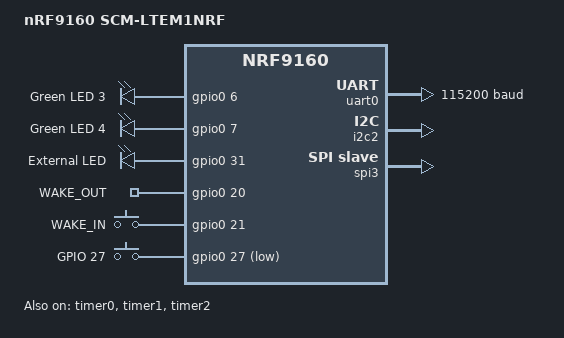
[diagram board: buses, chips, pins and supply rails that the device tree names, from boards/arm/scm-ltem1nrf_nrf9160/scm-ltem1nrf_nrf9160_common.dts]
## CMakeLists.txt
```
# SPDX-License-Identifier: Apache-2.0

cmake_minimum_required(VERSION 3.20.0)
set(BOARD_ROOT ${CMAKE_SOURCE_DIR})
find_package(Zephyr REQUIRED HINTS $ENV{ZEPHYR_BASE})
project(blinky)

target_sources(app PRIVATE src/main.c)
```

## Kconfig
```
#
# Copyright (c) 2021 Nordic Semiconductor ASA
#
# SPDX-License-Identifier: LicenseRef-Nordic-5-Clause
#

menu "Blinky"
    module = APP
    module-str = APP
    source "subsys/logging/Kconfig.template.log_config"
endmenu

menu "Zephyr Kernel"
source "Kconfig.zephyr"
endmenu
```

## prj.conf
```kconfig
# General config
CONFIG_LOG=y
CONFIG_LOG_DEFAULT_LEVEL=3
CONFIG_NEWLIB_LIBC=y
CONFIG_NEWLIB_LIBC_FLOAT_PRINTF=y

# Segger RTT
CONFIG_USE_SEGGER_RTT=y
CONFIG_RTT_CONSOLE=y
CONFIG_LOG_BACKEND_RTT=y
CONFIG_UART_CONSOLE=y
CONFIG_LOG_BACKEND_UART=y

# GPIO
CONFIG_GPIO=y
```

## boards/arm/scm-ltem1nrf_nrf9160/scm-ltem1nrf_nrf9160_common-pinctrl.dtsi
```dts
/*
 * Copyright (c) 2022 Nordic Semiconductor
 * SPDX-License-Identifier: Apache-2.0
 */

&pinctrl {
	uart0_default: uart0_default {
		group1 {
			psels = <NRF_PSEL(UART_TX, 0, 23)>,
				<NRF_PSEL(UART_RX, 0, 22)>;
		};
	};

	uart0_sleep: uart0_sleep {
		group1 {
			psels = <NRF_PSEL(UART_TX, 0, 23)>,
				<NRF_PSEL(UART_RX, 0, 22)>;
			low-power-enable;
		};
	};

	i2c2_default: i2c2_default {
		group1 {
			psels = <NRF_PSEL(TWIM_SDA, 0, 29)>,
				<NRF_PSEL(TWIM_SCL, 0, 30)>;
		};
	};

	i2c2_sleep: i2c2_sleep {
		group1 {
			psels = <NRF_PSEL(TWIM_SDA, 0, 29)>,
				<NRF_PSEL(TWIM_SCL, 0, 30)>;
		};
		low-power-enable;
	};

	spi3_default: spi3_default {
		group1 {
			psels = <NRF_PSEL(SPIS_SCK, 0, 3)>,
				<NRF_PSEL(SPIS_MISO, 0, 2)>,
				<NRF_PSEL(SPIS_MOSI, 0, 1)>,
				<NRF_PSEL(SPIS_CSN, 0, 4)>;
		};
	};

	spi3_sleep: spi3_sleep {
		group1 {
			psels = <NRF_PSEL(SPIS_SCK, 0, 3)>,
				<NRF_PSEL(SPIS_MISO, 0, 2)>,
				<NRF_PSEL(SPIS_MOSI, 0, 1)>,
				<NRF_PSEL(SPIS_CSN, 0, 4)>;
			low-power-enable;
		};
	};
};
```

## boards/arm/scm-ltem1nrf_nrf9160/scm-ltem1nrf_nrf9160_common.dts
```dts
/*
 * Copyright (c) 2018-2020 Nordic Semiconductor ASA
 *
 * SPDX-License-Identifier: Apache-2.0
 */
#include "scm-ltem1nrf_nrf9160_common-pinctrl.dtsi"

/ {
	model = "nRF9160 SCM-LTEM1NRF";
	compatible = "nordic,nrf9160-dk-nrf9160";

	chosen {
		zephyr,console = &uart0;
		zephyr,shell-uart = &uart0;
		zephyr,uart-mcumgr = &uart0;
	};

	leds {
		compatible = "gpio-leds";
		led0: led_0 {
			gpios = <&gpio0 6 0>;
			label = "Green LED 3";
		};
		led1: led_1 {
			gpios = <&gpio0 7 0>;
			label = "Green LED 4";
		};
		led2: led_2 {
			gpios = <&gpio0 31 0>;
			label = "External LED";
		};
		led3: led_3 {
			gpios = <&gpio0 20 0>;
			label = "WAKE_OUT";
		};
	};

	buttons {
		compatible = "gpio-keys";
		button0: button_0 {
			gpios = <&gpio0 21 (GPIO_PULL_DOWN | GPIO_ACTIVE_HIGH)>;
			label = "WAKE_IN";
		};
		button1: button_1 {
			gpios = <&gpio0 27 (GPIO_PULL_UP | GPIO_ACTIVE_LOW)>;
			label = "GPIO 27";
		};
	};

	/* These aliases are provided for compatibility with samples */
	aliases {
		led0 = &led0;
		led1 = &led1;
		led2 = &led2;
		wake-out = &led3;
		wake-in = &button0;
		sw0 = &button1;
	};
};

&gpiote {
	status = "okay";
};

&gpio0 {
	status = "okay";
};

&uart0 {
	status = "okay";
	current-speed = <115200>;
	pinctrl-0 = <&uart0_default>;
	pinctrl-1 = <&uart0_sleep>;
	pinctrl-names = "default", "sleep";
};

&i2c2 {
	compatible = "nordic,nrf-twis";
	status = "okay";
	pinctrl-0 = <&i2c2_default>;
	pinctrl-1 = <&i2c2_sleep>;
	address-0 = <0x30>;
};

&spi3 {
	compatible = "nordic,nrf-spis";
	status = "okay";
	pinctrl-0 = <&spi3_default>;
	pinctrl-1 = <&spi3_sleep>;
	pinctrl-names = "default", "sleep";
	def-char = <0x20>;
};

&timer0 {
	status = "okay";
};

&timer1 {
	status = "okay";
};

&timer2 {
	status = "okay";
};

&flash0 {

	partitions {
		compatible = "fixed-partitions";
		#address-cells = <1>;
		#size-cells = <1>;

		boot_partition: partition@0 {
			label = "mcuboot";
			reg = <0x00000000 0x10000>;
		};
		slot0_partition: partition@10000 {
			label = "image-0";
		};
		slot0_ns_partition: partition@50000 {
			label = "image-0-nonsecure";
		};
		slot1_partition: partition@80000 {
			label = "image-1";
		};
		slot1_ns_partition: partition@c0000 {
			label = "image-1-nonsecure";
		};
		/* 0xf0000 to 0xf7fff reserved for TF-M partitions */
		storage_partition: partition@f8000 {
			label = "storage";
			reg = <0x000f8000 0x00008000>;
		};
	};
};

/ {

	reserved-memory {
		#address-cells = <1>;
		#size-cells = <1>;
		ranges;

		sram0_s: image_s@20000000 {
			/* Secure image memory */
		};

		sram0_modem: image_modem@20016000 {
			/* Modem (shared) memory */
		};

		sram0_ns: image_ns@20020000 {
			/* Non-Secure image memory */
		};
	};
};

/* Include partition configuration file */
#include "scm-ltem1nrf_nrf9160_partition_conf.dts"
```

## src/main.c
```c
/*
 * Copyright (c) 2016 Intel Corporation
 *
 * SPDX-License-Identifier: Apache-2.0
 */

#include <zephyr/kernel.h>
#include <zephyr/drivers/gpio.h>
#include <zephyr/logging/log.h>

LOG_MODULE_REGISTER(main, CONFIG_APP_LOG_LEVEL);

/* 1000 msec = 1 sec */
#define SLEEP_TIME_MS   1000

/* The devicetree node identifier for the "led0" alias. */
#define LED0_NODE DT_ALIAS(led0)

/*
 * A build error on this line means your board is unsupported.
 * See the sample documentation for information on how to fix this.
 */
static const struct gpio_dt_spec led = GPIO_DT_SPEC_GET(LED0_NODE, gpios);

int main(void)
{
	int ret;

	if (!gpio_is_ready_dt(&led)) {
		LOG_ERR("'led0' is not ready");
		return 0;
	}

	ret = gpio_pin_configure_dt(&led, GPIO_OUTPUT_ACTIVE);
	if (ret < 0) {
		LOG_ERR("'led0' gpio_pin_configure_dt failed");
		return 0;
	}

	while (1) {
		ret = gpio_pin_toggle_dt(&led);
		if (ret < 0) {
			LOG_ERR("'led0' gpio_pin_toggle_dt failed");
			return 0;
		}
		k_msleep(SLEEP_TIME_MS);
	}
	return 0;
}
```
